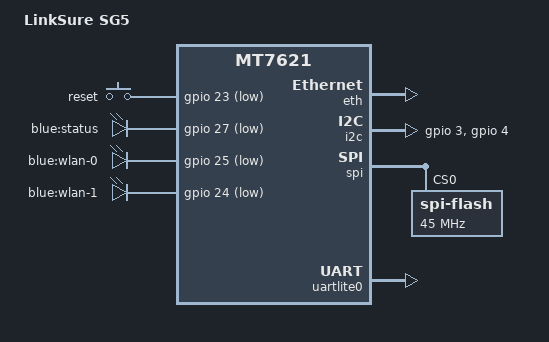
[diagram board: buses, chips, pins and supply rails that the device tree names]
// SPDX-License-Identifier: GPL-2.0+

/dts-v1/;
#include "mt7621.dtsi"

#include <dt-bindings/gpio/gpio.h>
#include <dt-bindings/input/input.h>

/ {
	model = "LinkSure SG5";
	compatible = "linksure,sg5", "mediatek,mt7621-soc";

	aliases {
		spi0 = &spi;
	};

	chosen {
		stdout-path = &uartlite0;
	};

	config {
		reset-button = "reset";
		status1-led = "blue:status";
	};

	keys {
		compatible = "gpio-keys";

		reset {
			label = "reset";
			gpios = <&gpio 23 GPIO_ACTIVE_LOW>;
			linux,code = <KEY_RESTART>;
		};
	};

	leds {
		compatible = "gpio-leds";

		led-status {
			label = "blue:status";
			gpios = <&gpio 27 GPIO_ACTIVE_LOW>;
			default-state = "on";
		};

		led-wlan0 {
			label = "blue:wlan-0";
			gpios = <&gpio 25 GPIO_ACTIVE_LOW>;
			default-state = "off";
		};

		led-wlan1 {
			label = "blue:wlan-1";
			gpios = <&gpio 24 GPIO_ACTIVE_LOW>;
			default-state = "off";
		};
	};
};

&eth {
	status = "okay";
};

&gpio {
	status = "okay";
};

&i2c {
	gpios = <&gpio 3 1>, /* PIN3 as SDA */
		<&gpio 4 1>; /* PIN4 as CLK */
};

&spi {
	status = "okay";

	spi-max-frequency = <45000000>;

	spi-flash@0 {
		#address-cells = <1>;
		#size-cells = <1>;
		compatible = "spi-flash";
		spi-max-frequency = <45000000>;
		reg = <0>;
	};
};

&state_default {
	/delete-node/ spi-nand_pins;
	/delete-node/ sdhci-nand_pins;
	/delete-node/ rgmii2_pins;
};

&uartlite0 {
	status = "okay";
};
